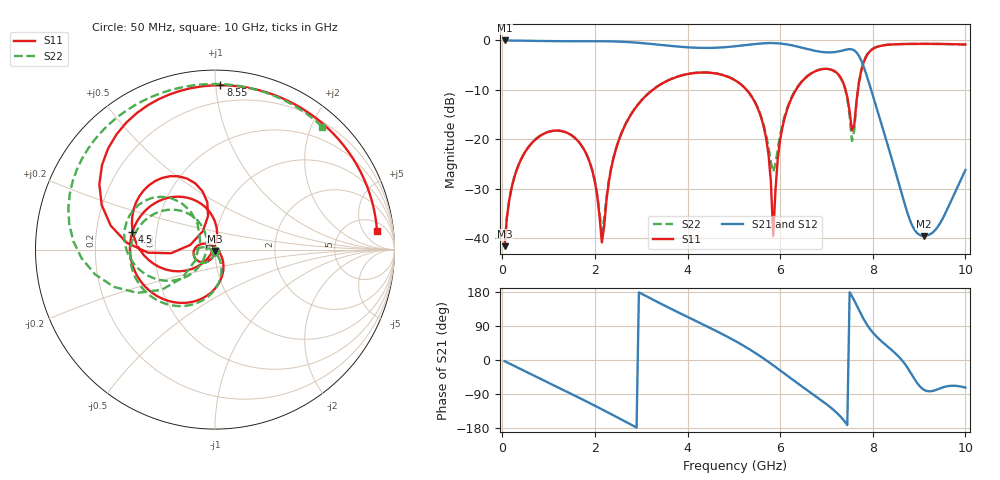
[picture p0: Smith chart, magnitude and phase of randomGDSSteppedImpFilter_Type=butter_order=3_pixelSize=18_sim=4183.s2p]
! freq	dB(S11)	phase(S11)	dB(S12)	phase(S12)
!  dB(S21)	phase(S21)	dB(S22)	phase(S22)
!S-par simulation data
#  GHz  S  DB  R 50
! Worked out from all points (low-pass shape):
!   200 points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, 50 MHz to 10 GHz, reference 50 ohm
!   highest |S21| = -0.01 dB at 50 MHz (marker M1); lowest = -39.5 dB at 9.1 GHz (marker M2)
!   |S21| within 3 dB of the highest: start of sweep to 7.692 GHz
!   lowest |S11| = -41.6 dB at 50 MHz (marker M3), VSWR 1.02, Z = 50 - j0.831 ohm
!   |S11| at or under -10 dB: start of sweep to 3.249 GHz; 5.273 GHz to 6.341 GHz (1.068 GHz wide, 18.4 % of centre); 7.412 GHz to 7.68 GHz (268.2 MHz wide, 3.55 % of centre)
!   |S22| runs from -41.6 to -0.7 dB; largest |S21 - S12| = 0
!   S11 on the Smith chart (normalised r, x): 50 MHz: 1.00, -0.02; 4.5 GHz: 0.36, +0.09; 8.55 GHz: 0.09, +1.03; 10 GHz: 9, +10
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0.05  -41.60 -90.7  -0.01 -3.1  -0.01 -3.1  -41.61 -90.4
0.25  -27.97 -105.4  -0.03 -15.2  -0.03 -15.2  -27.96 -104.3
0.6  -21.15 -127.9  -0.08 -36.2  -0.08 -36.2  -21.15 -125.1
1.75  -21.82 157.4  -0.16 -105.2  -0.16 -105.2  -21.82 172.2
2.15  -40.84 63.1  -0.16 -130.1  -0.16 -130.1  -38.53 -139.2
2.55  -19.34 -64.0  -0.25 -155.7  -0.25 -155.7  -19.26 -70.5
3.4  -9.01 -123.1  -0.88 150.0  -0.88 150.0  -8.98 -118.1
4.5  -6.55 168.2  -1.51 83.9  -1.51 83.9  -6.52 -179.5
5.05  -8.20 132.1  -1.16 48.9  -1.16 48.9  -8.16 149.1
5.65  -17.66 86.8  -0.58 3.4  -0.58 3.4  -17.25 119.0
5.85  -39.54 147.7  -0.54 -13.9  -0.54 -13.9  -26.57 171.0
5.95  -23.76 -129.4  -0.59 -22.9  -0.59 -22.9  -21.87 -140.4
6.1  -15.57 -139.8  -0.74 -36.5  -0.74 -36.5  -15.18 -133.7
6.7  -6.52 166.8  -2.00 -89.8  -2.00 -89.8  -6.48 -174.0
7.25  -6.80 116.6  -2.25 -142.6  -2.25 -142.6  -6.88 140.4
7.5  -14.37 101.6  -1.76 178.9  -1.76 178.9  -15.19 124.0
7.55  -18.21 123.5  -1.81 168.4  -1.81 168.4  -20.30 149.2
7.9  -2.61 150.5  -8.01 88.8  -8.01 88.8  -2.56 -176.2
8.35  -0.86 102.5  -22.01 32.4  -22.01 32.4  -0.84 138.1
8.55  -0.76 88.1  -28.48 10.1  -28.48 10.1  -0.75 125.0
9.1  -0.69 55.1  -39.53 -78.2  -39.53 -78.2  -0.70 95.0
10  -0.83 6.4  -26.20 -72.9  -26.20 -72.9  -0.83 49.0
